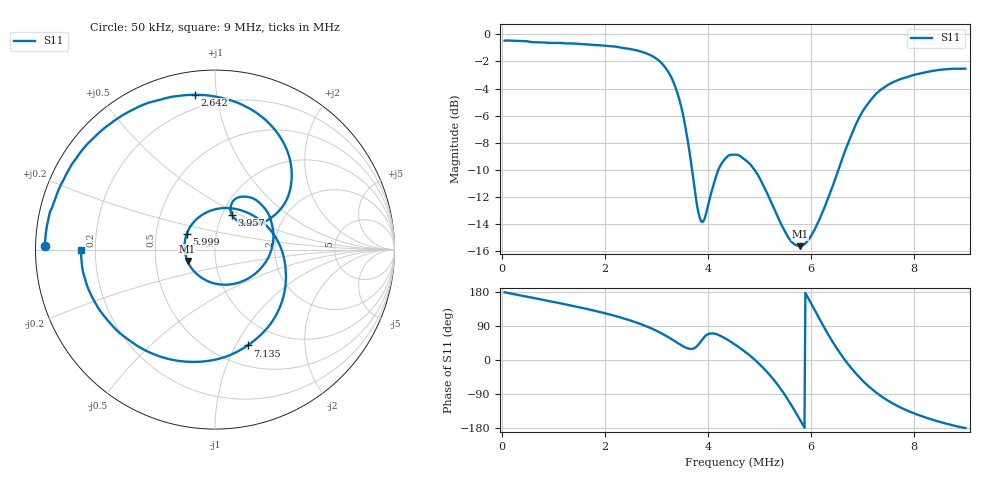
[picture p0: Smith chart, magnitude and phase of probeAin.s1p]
# Hz S RI R 50
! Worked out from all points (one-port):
!   505 points, 50 kHz to 9 MHz, reference 50 ohm
!   lowest |S11| = -15.6 dB at 5.785 MHz (marker M1), VSWR 1.40, Z = 36.5 - j4.77 ohm
!   |S11| at or under -10 dB: 3.691 MHz to 4.201 MHz (510 kHz wide, 12.9 % of centre); 4.906 MHz to 6.532 MHz (1.626 MHz wide, 28.4 % of centre)
!   S11 on the Smith chart (normalised r, x): 50 kHz: 0.03, +0.01; 2.642 MHz: 0.12, +0.87; 3.957 MHz: 1.11, +0.45; 5.999 MHz: 0.72, +0.13; 7.135 MHz: 0.71, -1.12; 9 MHz: 0.14, -0.00
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50000  -0.9461 0.0205
1186400  -0.7873 0.4902
1825700  -0.575 0.7074
2305057  -0.3357 0.8278
2642457  -0.1108 0.8627
3050857  0.2244 0.7668
3423757  0.4274 0.4097
3690114  0.2763 0.1553
3832214  0.1543 0.1473
3956514  0.0927 0.1952
4240614  0.145 0.2945
4542514  0.2785 0.2284
4897614  0.3176 0.0111
5235014  0.1691 -0.1692
5448071  0.0236 -0.1937
5661171  -0.105 -0.1329
5785471  -0.153 -0.0635
5998571  -0.1569 0.0885
6211671  -0.0265 0.2164
6389171  0.1526 0.2165
6602271  0.3397 0.0651
6779871  0.3955 -0.1503
6939671  0.347 -0.3522
7134971  0.1823 -0.5339
7454628  -0.1531 -0.6247
7898528  -0.4937 -0.4937
8431228  -0.6939 -0.2459
8999528  -0.747 -0.0042
